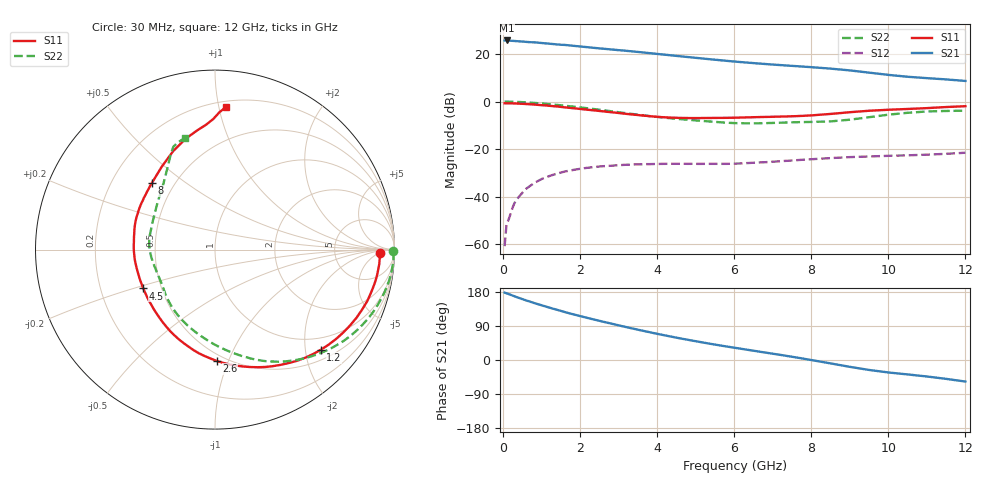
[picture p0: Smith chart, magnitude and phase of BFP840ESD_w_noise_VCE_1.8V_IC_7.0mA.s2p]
! Infineon Technologies  Discrete & RF Semiconductors
! BFP840ESD
! VCE =  1.8 V,  IC =  7.0 mA
! Common Emitter S-Parameters:  May 2012
# GHz  S  MA  R  50
!  f  S11  S21  S12  S22
! GHz  MAG  ANG  MAG  ANG  MAG  ANG  MAG  ANG
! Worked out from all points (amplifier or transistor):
!   93 points, 30 MHz to 12 GHz, reference 50 ohm
!   highest |S21| = 25.7 dB at 80 MHz (marker M1)
!   |S21| within 3 dB of that: start of sweep to 2.284 GHz
!   unconditionally stable (mu >= 1): 5.761 GHz to 9.94 GHz
!   at 1.1 GHz: K = 0.22, MSG = 28.2 dB, |S12| = -32.0 dB
!   at 4.2 GHz: K = 0.71, MSG = 23.0 dB, |S12| = -26.2 dB
!   at 12 GHz: K = 0.70, MSG = 15.1 dB, |S12| = -21.6 dB
!   lowest NFmin = 0.68 dB at 450 MHz
!   S11 on the Smith chart (normalised r, x): 30 MHz: 23, -5; 1.2 GHz: 0.71, -2.33; 2.6 GHz: 0.45, -0.91; 4.5 GHz: 0.40, -0.22; 8 GHz: 0.38, +0.38; 12 GHz: 0.24, +1.05
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0.03  0.9205 -1.1  19.28 177.8  0.0009 66.2  0.9929 -0.6
0.08  0.9188 -3.1  19.34 176.0  0.0026 87.2  0.9956 -2.3
0.38  0.9041 -14.3  18.62 164.6  0.0094 79.4  0.9802 -11.8
0.6  0.8851 -22.2  18.03 156.9  0.0148 74.4  0.9589 -18.4
0.8  0.8624 -29.5  17.66 150.3  0.0192 68.6  0.9358 -24.2
1.2  0.812 -43.4  16.49 138.0  0.0271 59.3  0.8792 -35.3
1.6  0.7532 -57.1  15.55 126.3  0.0337 51.0  0.8155 -45.7
2.1  0.6835 -73.2  14.17 113.1  0.0395 41.9  0.7353 -57.9
2.6  0.6204 -89.1  12.93 100.8  0.0435 34.3  0.6554 -69.4
3.3  0.5389 -112.0  11.47 84.3  0.0468 25.8  0.5533 -85.5
3.7  0.5003 -125.1  10.65 75.4  0.0481 22.4  0.5046 -95.3
4.1  0.4702 -138.6  9.865 66.9  0.0486 18.6  0.4647 -105.3
4.5  0.4548 -151.6  9.139 58.8  0.0488 16.3  0.4329 -115.2
5.2  0.45 -171.6  8.017 45.8  0.0487 13.6  0.3889 -130.8
6.1  0.4584 169.2  6.848 30.8  0.0496 13.8  0.3501 -150.3
7  0.4777 153.1  6.006 16.5  0.0541 13.6  0.3541 -170.4
8  0.5112 133.5  5.293 -0.1  0.061 10.5  0.3719 167.8
8.5  0.5482 122.9  4.931 -9.0  0.0644 8.3  0.3821 154.8
9  0.5963 113.0  4.525 -18.1  0.0676 5.1  0.4151 140.3
9.5  0.6396 104.7  4.058 -26.3  0.0697 2.1  0.4679 127.8
10.5  0.6975 94.1  3.325 -38.1  0.0737 -3.1  0.5794 115.4
12  0.7978 85.5  2.714 -56.9  0.0835 -9.3  0.6428 105.2
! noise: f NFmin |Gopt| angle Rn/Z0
0.45  0.68  0.39  1  0.16
0.9  0.7  0.39  5  0.15
1.5  0.71  0.38  13  0.15
1.9  0.73  0.38  17  0.14
2.4  0.74  0.33  28  0.13
3.5  0.77  0.24  56  0.11
5.5  0.86  0.16  126  0.1
8  1.02  0.31  -139  0.09
10  1.18  0.47  -97  0.16
12  1.39  0.59  -75  0.26
